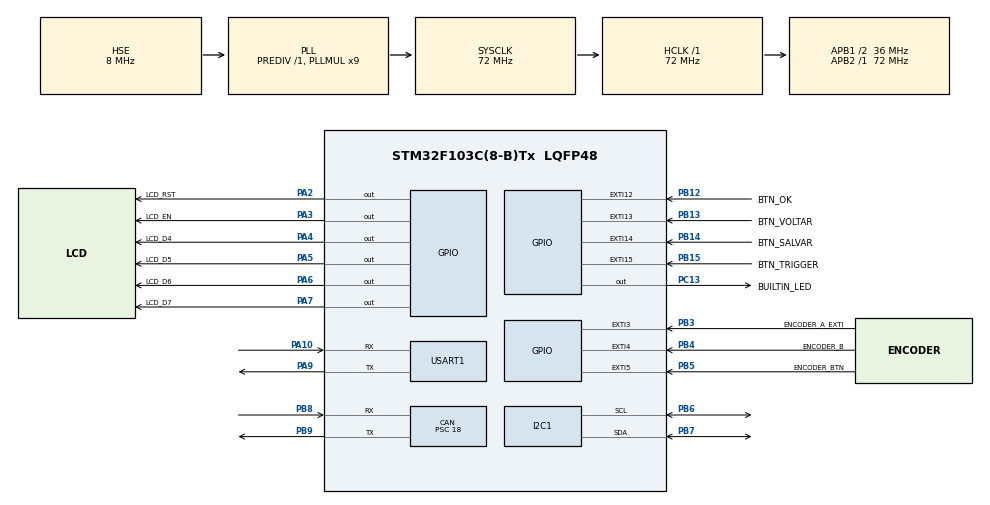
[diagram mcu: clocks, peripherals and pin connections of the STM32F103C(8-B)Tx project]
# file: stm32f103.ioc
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CAN.BS1=CAN_BS1_2TQ
CAN.CalculateBaudRate=500000
CAN.CalculateTimeBit=2000
CAN.CalculateTimeQuantum=500.0
CAN.Prescaler=18
Mcu.Family=STM32F1
Mcu.Name=STM32F103C(8-B)Tx
Mcu.Package=LQFP48
NVIC.CAN1_RX1_IRQn=true\:0\:0\:false\:false\:true\:true\:true\:true
NVIC.EXTI3_IRQn=true\:0\:0\:false\:false\:true\:true\:true\:true
NVIC.EXTI9_5_IRQn=true\:0\:0\:false\:false\:true\:true\:true\:true
NVIC.PriorityGroup=NVIC_PRIORITYGROUP_4
NVIC.TIM2_IRQn=true\:0\:0\:false\:false\:true\:true\:true\:true
PA0-WKUP.Mode=SYS_WakeUp0
PA0-WKUP.Signal=SYS_WKUP
PA10.Mode=Asynchronous
PA10.Signal=USART1_RX
PA13.Mode=Serial_Wire
PA13.Signal=SYS_JTMS-SWDIO
PA14.Mode=Serial_Wire
PA14.Signal=SYS_JTCK-SWCLK
PA2.GPIO_Label=LCD_RST
PA2.Signal=GPIO_Output
PA3.GPIO_Label=LCD_EN
PA3.Signal=GPIO_Output
PA4.GPIO_Label=LCD_D4
PA4.Signal=GPIO_Output
PA5.GPIO_Label=LCD_D5
PA5.Signal=GPIO_Output
PA6.GPIO_Label=LCD_D6
PA6.Signal=GPIO_Output
PA7.GPIO_Label=LCD_D7
PA7.Signal=GPIO_Output
PA9.Mode=Asynchronous
PA9.Signal=USART1_TX
PB12.GPIO_Label=BTN_OK
PB12.Signal=GPXTI12
PB13.GPIO_Label=BTN_VOLTAR
PB13.Signal=GPXTI13
PB14.GPIO_Label=BTN_SALVAR
PB14.Signal=GPXTI14
PB15.GPIO_Label=BTN_TRIGGER
PB15.Signal=GPXTI15
PB3.GPIO_Label=ENCODER_A_EXTI
PB3.GPIO_ModeDefaultEXTI=GPIO_MODE_IT_RISING_FALLING
PB3.Signal=GPXTI3
PB4.GPIO_Label=ENCODER_B
PB4.Signal=GPXTI4
PB5.GPIO_Label=ENCODER_BTN
PB5.GPIO_ModeDefaultEXTI=GPIO_MODE_IT_RISING_FALLING
PB5.Signal=GPXTI5
PB6.GPIO_Pu=GPIO_PULLUP
PB6.Mode=I2C
PB6.Signal=I2C1_SCL
PB7.GPIO_Pu=GPIO_PULLUP
PB7.Mode=I2C
PB7.Signal=I2C1_SDA
PB8.Mode=CAN_Activate
PB8.Signal=CAN_RX
PB9.Mode=CAN_Activate
PB9.Signal=CAN_TX
PC13-TAMPER-RTC.GPIO_Label=BUILTIN_LED
PC13-TAMPER-RTC.Signal=GPIO_Output
PD0-OSC_IN.Mode=HSE-External-Oscillator
PD0-OSC_IN.Signal=RCC_OSC_IN
PD1-OSC_OUT.Mode=HSE-External-Oscillator
PD1-OSC_OUT.Signal=RCC_OSC_OUT
ProjectManager.HeapSize=0x200
ProjectManager.StackSize=0x400
ProjectManager.TargetToolchain=MDK-ARM V5
RCC.AHBFreq_Value=72000000
RCC.APB1CLKDivider=RCC_HCLK_DIV2
RCC.APB1Freq_Value=36000000
RCC.APB1TimFreq_Value=72000000
RCC.APB2Freq_Value=72000000
RCC.APB2TimFreq_Value=72000000
RCC.HCLKFreq_Value=72000000
RCC.PLLMUL=RCC_PLL_MUL9
RCC.PLLSourceVirtual=RCC_PLLSOURCE_HSE
RCC.SYSCLKFreq_VALUE=72000000
RCC.SYSCLKSource=RCC_SYSCLKSOURCE_PLLCLK
RCC.USBFreq_Value=48000000
RCC.USBPrescaler=RCC_USBCLKSOURCE_PLL_DIV1_5
TIM2.Period=199
TIM2.Prescaler=35999
USART1.VirtualMode=VM_ASYNC
VP_CRC_VS_CRC.Mode=CRC_Activate
VP_TIM2_VS_ClockSourceINT.Mode=Internal
board=custom

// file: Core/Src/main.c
/* USER CODE BEGIN Header */
/**
  ******************************************************************************
  * @file           : main.c
  * @brief          : Main program body
  ******************************************************************************
  * @attention
  *
  * Copyright (c) 2022 STMicroelectronics.
  * All rights reserved.
  *
  * This software is licensed under terms that can be found in the LICENSE file
  * in the root directory of this software component.
  * If no LICENSE file comes with this software, it is provided AS-IS.
  *
  ******************************************************************************
  */
/* USER CODE END Header */
#include "main.h"
#include "usb_device.h"

/* USER CODE BEGIN Includes */

#include "control_ihm.h"

/* USER CODE END Includes */

CAN_HandleTypeDef hcan;

CRC_HandleTypeDef hcrc;

I2C_HandleTypeDef hi2c1;

TIM_HandleTypeDef htim2;

UART_HandleTypeDef huart1;

void SystemClock_Config(void);
static void MX_GPIO_Init(void);
static void MX_CRC_Init(void);
static void MX_USART1_UART_Init(void);
static void MX_CAN_Init(void);
static void MX_I2C1_Init(void);
static void MX_TIM2_Init(void);

/* USER CODE BEGIN 0 */

ControlIhm ctrlIhm;

char texto[20];
int count = 0;

uint32_t TxMailbox;

unsigned char datacheck = 0;

uint16_t count_callback = 0;

// Variaveis da tela
unsigned char refresh_display = 0;
int numero_na_tela = 0;
char stringRetorno[10];

// Variaveis do botao
bool encoderPressionado = false;
int countParaVoltar = 0;
bool botaoVoltarFoiAtivado = false;

void HAL_CAN_RxFifo1MsgPendingCallback(CAN_HandleTypeDef *hcan)
{
	ctrlIhm.can.receive_data_callback();
	count_callback++;
}

/* USER CODE END 0 */

int main(void)
{

  /* MCU Configuration--------------------------------------------------------*/

  /* Reset of all peripherals, Initializes the Flash interface and the Systick. */
  HAL_Init();

  /* Configure the system clock */
  SystemClock_Config();

  /* Initialize all configured peripherals */
  MX_GPIO_Init();
  MX_CRC_Init();
  MX_USART1_UART_Init();
  MX_CAN_Init();
  MX_I2C1_Init();
  MX_USB_DEVICE_Init();
  MX_TIM2_Init();
  /* USER CODE BEGIN 2 */

	HAL_TIM_Base_Start_IT(&htim2);

	HAL_CAN_Start(&hcan);

  // Activate the notification
  HAL_CAN_ActivateNotification(&hcan, CAN_IT_RX_FIFO1_MSG_PENDING);

	TM_HD44780_Init(20,4);

	ctrlIhm.iniciar();

  /* USER CODE END 2 */

  /* Infinite loop */
  /* USER CODE BEGIN WHILE */
  while (1)
  {
		ctrlIhm.programa_principal();

    /* USER CODE END WHILE */

  }
}

void SystemClock_Config(void)
{
  RCC_OscInitTypeDef RCC_OscInitStruct = {0};
  RCC_ClkInitTypeDef RCC_ClkInitStruct = {0};
  RCC_PeriphCLKInitTypeDef PeriphClkInit = {0};

  /** Initializes the RCC Oscillators according to the specified parameters
  * in the RCC_OscInitTypeDef structure.
  */
  RCC_OscInitStruct.OscillatorType = RCC_OSCILLATORTYPE_HSE;
  RCC_OscInitStruct.HSEState = RCC_HSE_ON;
  RCC_OscInitStruct.HSEPredivValue = RCC_HSE_PREDIV_DIV1;
  RCC_OscInitStruct.HSIState = RCC_HSI_ON;
  RCC_OscInitStruct.PLL.PLLState = RCC_PLL_ON;
  RCC_OscInitStruct.PLL.PLLSource = RCC_PLLSOURCE_HSE;
  RCC_OscInitStruct.PLL.PLLMUL = RCC_PLL_MUL9;
  if (HAL_RCC_OscConfig(&RCC_OscInitStruct) != HAL_OK)
  {
    Error_Handler();
  }

  /** Initializes the CPU, AHB and APB buses clocks
  */
  RCC_ClkInitStruct.ClockType = RCC_CLOCKTYPE_HCLK|RCC_CLOCKTYPE_SYSCLK
                              |RCC_CLOCKTYPE_PCLK1|RCC_CLOCKTYPE_PCLK2;
  RCC_ClkInitStruct.SYSCLKSource = RCC_SYSCLKSOURCE_PLLCLK;
  RCC_ClkInitStruct.AHBCLKDivider = RCC_SYSCLK_DIV1;
  RCC_ClkInitStruct.APB1CLKDivider = RCC_HCLK_DIV2;
  RCC_ClkInitStruct.APB2CLKDivider = RCC_HCLK_DIV1;

  if (HAL_RCC_ClockConfig(&RCC_ClkInitStruct, FLASH_LATENCY_2) != HAL_OK)
  {
    Error_Handler();
  }
  PeriphClkInit.PeriphClockSelection = RCC_PERIPHCLK_USB;
  PeriphClkInit.UsbClockSelection = RCC_USBCLKSOURCE_PLL_DIV1_5;
  if (HAL_RCCEx_PeriphCLKConfig(&PeriphClkInit) != HAL_OK)
  {
    Error_Handler();
  }
}

static void MX_CAN_Init(void)
{

  hcan.Instance = CAN1;
  hcan.Init.Prescaler = 18;
  hcan.Init.Mode = CAN_MODE_NORMAL;
  hcan.Init.SyncJumpWidth = CAN_SJW_1TQ;
  hcan.Init.TimeSeg1 = CAN_BS1_2TQ;
  hcan.Init.TimeSeg2 = CAN_BS2_1TQ;
  hcan.Init.TimeTriggeredMode = DISABLE;
  hcan.Init.AutoBusOff = DISABLE;
  hcan.Init.AutoWakeUp = DISABLE;
  hcan.Init.AutoRetransmission = DISABLE;
  hcan.Init.ReceiveFifoLocked = DISABLE;
  hcan.Init.TransmitFifoPriority = DISABLE;
  if (HAL_CAN_Init(&hcan) != HAL_OK)
  {
    Error_Handler();
  }
  /* USER CODE BEGIN CAN_Init 2 */

  CAN_FilterTypeDef canfilterconfig;

  canfilterconfig.FilterActivation = CAN_FILTER_ENABLE;
  canfilterconfig.FilterBank = 10;  // which filter bank to use from the assigned ones
  canfilterconfig.FilterFIFOAssignment = CAN_FILTER_FIFO1;
  canfilterconfig.FilterIdHigh = CAN_MVS_FILTER_ID<<5;
  canfilterconfig.FilterIdLow = 0;
  canfilterconfig.FilterMaskIdHigh = CAN_MVS_FILTER_ID<<5;
  canfilterconfig.FilterMaskIdLow = 0x0000;
  canfilterconfig.FilterMode = CAN_FILTERMODE_IDMASK;
  canfilterconfig.FilterScale = CAN_FILTERSCALE_32BIT;
  canfilterconfig.SlaveStartFilterBank = 0;  // doesn't matter in single can controllers

	HAL_CAN_ConfigFilter(&hcan, &canfilterconfig);

  /* USER CODE END CAN_Init 2 */

}

static void MX_CRC_Init(void)
{

  hcrc.Instance = CRC;
  if (HAL_CRC_Init(&hcrc) != HAL_OK)
  {
    Error_Handler();
  }

}

static void MX_I2C1_Init(void)
{

  hi2c1.Instance = I2C1;
  hi2c1.Init.ClockSpeed = 100000;
  hi2c1.Init.DutyCycle = I2C_DUTYCYCLE_2;
  hi2c1.Init.OwnAddress1 = 0;
  hi2c1.Init.AddressingMode = I2C_ADDRESSINGMODE_7BIT;
  hi2c1.Init.DualAddressMode = I2C_DUALADDRESS_DISABLE;
  hi2c1.Init.OwnAddress2 = 0;
  hi2c1.Init.GeneralCallMode = I2C_GENERALCALL_DISABLE;
  hi2c1.Init.NoStretchMode = I2C_NOSTRETCH_DISABLE;
  if (HAL_I2C_Init(&hi2c1) != HAL_OK)
  {
    Error_Handler();
  }

}

static void MX_TIM2_Init(void)
{

  TIM_ClockConfigTypeDef sClockSourceConfig = {0};
  TIM_MasterConfigTypeDef sMasterConfig = {0};

  htim2.Instance = TIM2;
  htim2.Init.Prescaler = 35999;
  htim2.Init.CounterMode = TIM_COUNTERMODE_UP;
  htim2.Init.Period = 199;
  htim2.Init.ClockDivision = TIM_CLOCKDIVISION_DIV1;
  htim2.Init.AutoReloadPreload = TIM_AUTORELOAD_PRELOAD_DISABLE;
  if (HAL_TIM_Base_Init(&htim2) != HAL_OK)
  {
    Error_Handler();
  }
  sClockSourceConfig.ClockSource = TIM_CLOCKSOURCE_INTERNAL;
  if (HAL_TIM_ConfigClockSource(&htim2, &sClockSourceConfig) != HAL_OK)
  {
    Error_Handler();
  }
  sMasterConfig.MasterOutputTrigger = TIM_TRGO_RESET;
  sMasterConfig.MasterSlaveMode = TIM_MASTERSLAVEMODE_DISABLE;
  if (HAL_TIMEx_MasterConfigSynchronization(&htim2, &sMasterConfig) != HAL_OK)
  {
    Error_Handler();
  }

}

static void MX_USART1_UART_Init(void)
{

  huart1.Instance = USART1;
  huart1.Init.BaudRate = 115200;
  huart1.Init.WordLength = UART_WORDLENGTH_8B;
  huart1.Init.StopBits = UART_STOPBITS_1;
  huart1.Init.Parity = UART_PARITY_NONE;
  huart1.Init.Mode = UART_MODE_TX_RX;
  huart1.Init.HwFlowCtl = UART_HWCONTROL_NONE;
  huart1.Init.OverSampling = UART_OVERSAMPLING_16;
  if (HAL_UART_Init(&huart1) != HAL_OK)
  {
    Error_Handler();
  }

}

static void MX_GPIO_Init(void)
{
  GPIO_InitTypeDef GPIO_InitStruct = {0};

  /* GPIO Ports Clock Enable */
  __HAL_RCC_GPIOC_CLK_ENABLE();
  __HAL_RCC_GPIOD_CLK_ENABLE();
  __HAL_RCC_GPIOA_CLK_ENABLE();
  __HAL_RCC_GPIOB_CLK_ENABLE();

  /*Configure GPIO pin Output Level */
  HAL_GPIO_WritePin(BUILTIN_LED_GPIO_Port, BUILTIN_LED_Pin, GPIO_PIN_RESET);

  /*Configure GPIO pin Output Level */
  HAL_GPIO_WritePin(GPIOA, LCD_RST_Pin|LCD_EN_Pin|LCD_D4_Pin|LCD_D5_Pin
                          |LCD_D6_Pin|LCD_D7_Pin, GPIO_PIN_RESET);

  /*Configure GPIO pin : BUILTIN_LED_Pin */
  GPIO_InitStruct.Pin = BUILTIN_LED_Pin;
  GPIO_InitStruct.Mode = GPIO_MODE_OUTPUT_PP;
  GPIO_InitStruct.Pull = GPIO_NOPULL;
  GPIO_InitStruct.Speed = GPIO_SPEED_FREQ_LOW;
  HAL_GPIO_Init(BUILTIN_LED_GPIO_Port, &GPIO_InitStruct);

  /*Configure GPIO pins : LCD_RST_Pin LCD_EN_Pin LCD_D4_Pin LCD_D5_Pin
                           LCD_D6_Pin LCD_D7_Pin */
  GPIO_InitStruct.Pin = LCD_RST_Pin|LCD_EN_Pin|LCD_D4_Pin|LCD_D5_Pin
                          |LCD_D6_Pin|LCD_D7_Pin;
  GPIO_InitStruct.Mode = GPIO_MODE_OUTPUT_PP;
  GPIO_InitStruct.Pull = GPIO_NOPULL;
  GPIO_InitStruct.Speed = GPIO_SPEED_FREQ_LOW;
  HAL_GPIO_Init(GPIOA, &GPIO_InitStruct);

  /*Configure GPIO pins : BTN_OK_Pin BTN_VOLTAR_Pin BTN_SALVAR_Pin BTN_TRIGGER_Pin
                           ENCODER_B_Pin */
  GPIO_InitStruct.Pin = BTN_OK_Pin|BTN_VOLTAR_Pin|BTN_SALVAR_Pin|BTN_TRIGGER_Pin
                          |ENCODER_B_Pin;
  GPIO_InitStruct.Mode = GPIO_MODE_IT_RISING;
  GPIO_InitStruct.Pull = GPIO_NOPULL;
  HAL_GPIO_Init(GPIOB, &GPIO_InitStruct);

  /*Configure GPIO pins : ENCODER_A_EXTI_Pin ENCODER_BTN_Pin */
  GPIO_InitStruct.Pin = ENCODER_A_EXTI_Pin|ENCODER_BTN_Pin;
  GPIO_InitStruct.Mode = GPIO_MODE_IT_RISING_FALLING;
  GPIO_InitStruct.Pull = GPIO_NOPULL;
  HAL_GPIO_Init(GPIOB, &GPIO_InitStruct);

  /* EXTI interrupt init*/
  HAL_NVIC_SetPriority(EXTI3_IRQn, 0, 0);
  HAL_NVIC_EnableIRQ(EXTI3_IRQn);

  HAL_NVIC_SetPriority(EXTI9_5_IRQn, 0, 0);
  HAL_NVIC_EnableIRQ(EXTI9_5_IRQn);

}

/* USER CODE BEGIN 4 */

void HAL_TIM_PeriodElapsedCallback(TIM_HandleTypeDef *htim)
{
	if(htim == &htim2)	//timer configurado para 10Hz
	{
		if(++count >= 5)
		{
			count = 0;
		}

		static unsigned char count_display = 0;

		if (++count_display >= 10){ //divisor de frequencia do timer
			//HAL_GPIO_TogglePin(BUILTIN_LED_GPIO_Port, BUILTIN_LED_Pin);
			count_display = 0;
			refresh_display = 1;
		}

		//especie de delay para a funcionalidade de botoes
		uint8_t delayBotoes = ctrlIhm.getDelayLeituraBotoesIhm();
		if(delayBotoes > 0){
			ctrlIhm.setDelayLeituraBotoesIhm(delayBotoes - 1);
		}

		//cuida da freq de atualizacao do display
		uint8_t delayTela = ctrlIhm.getDelayAtualizaTela();
		if(delayTela > 0){
			ctrlIhm.setDelayAtualizaTela(delayTela - 1);
		}

		//cuida do tempo que diferencia o aperto do botao entre "entrar" e "voltar"
		if ((encoderPressionado == true) && (botaoVoltarFoiAtivado == false)){
			if (++countParaVoltar >= 4){
				countParaVoltar = 0;
				botaoVoltarFoiAtivado = true;
				ctrlIhm.setBotaoSelecionado(tBotaoVoltar);
			}
		}
	}
}

Botbot verifica_sentido_encoder(void){

	int Lado_A = HAL_GPIO_ReadPin(ENCODER_A_EXTI_GPIO_Port, ENCODER_A_EXTI_Pin);
	int Lado_B = HAL_GPIO_ReadPin(ENCODER_B_GPIO_Port, ENCODER_B_Pin);

	 if (Lado_B != Lado_A) {

		 //sentido horario
		 numero_na_tela++;
		 return tSentidoHorario;

	 } else {

		 //sentido anti-horario
		 numero_na_tela--;
		 return tSentidoAntiHorario;

	 }
}

void processaBotaoEncoder(void){

	if (encoderPressionado == false){
		encoderPressionado = true;
	}else{
		encoderPressionado = false;

		if (botaoVoltarFoiAtivado == false){
			ctrlIhm.setBotaoSelecionado(tBotaoEntrar);
			countParaVoltar = 0;
		}
		botaoVoltarFoiAtivado = false;
	}
}

void HAL_GPIO_EXTI_Callback(uint16_t GPIO_Pin)
{

	switch(GPIO_Pin)
	{
		case ENCODER_A_EXTI_Pin:
			ctrlIhm.setBotaoSelecionado(verifica_sentido_encoder());
			break;

		case ENCODER_BTN_Pin:
			processaBotaoEncoder();
			break;

		case BTN_VOLTAR_Pin:
			ctrlIhm.setBotaoSelecionado(tBotaoVoltar);
			break;

		default:
			break;

	}

}

char* getStrValor(int valor){
	sprintf(stringRetorno, "%d", numero_na_tela);
	return stringRetorno;
}

/* USER CODE END 4 */

void Error_Handler(void)
{
  __disable_irq();
  while (1)
  {
  }
}
